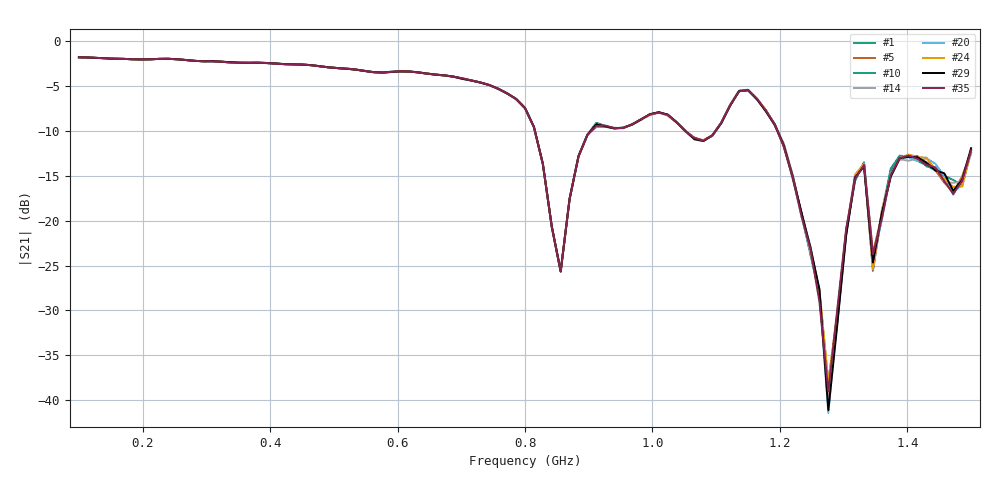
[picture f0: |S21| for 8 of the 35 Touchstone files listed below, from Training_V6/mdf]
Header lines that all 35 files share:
! NanoVNA-App
! Start: 100MHz Stop: 1,5GHz Points: 101
! S-Parameter data: F S11 S21 S12 S22
# Hz S RI R 50
!  Frequency  S11_Real  S11_Imag  S21_Real  S21_Imag  S12_Real  S12_Imag  S22_Real  S22_Imag
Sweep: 100 MHz to 1.5 GHz
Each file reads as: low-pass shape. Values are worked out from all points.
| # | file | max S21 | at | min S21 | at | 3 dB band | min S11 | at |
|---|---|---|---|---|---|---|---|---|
| 1 | mdf (201).s2p | -1.80 dB | 100 MHz | -39.3 dB | 1.276 GHz | 100 MHz-730 MHz | -39.0 dB | 128 MHz |
| 2 | mdf (202).s2p | -1.80 dB | 100 MHz | -39.0 dB | 1.276 GHz | 100 MHz-730 MHz | -39.0 dB | 128 MHz |
| 3 | mdf (203).s2p | -1.80 dB | 100 MHz | -41.1 dB | 1.276 GHz | 100 MHz-730 MHz | -38.9 dB | 128 MHz |
| 4 | mdf (204).s2p | -1.80 dB | 100 MHz | -37.8 dB | 1.276 GHz | 100 MHz-730 MHz | -39.0 dB | 128 MHz |
| 5 | mdf (205).s2p | -1.80 dB | 100 MHz | -39.5 dB | 1.276 GHz | 100 MHz-730 MHz | -39.0 dB | 128 MHz |
| 6 | mdf (206).s2p | -1.80 dB | 100 MHz | -38.6 dB | 1.276 GHz | 100 MHz-730 MHz | -39.0 dB | 128 MHz |
| 7 | mdf (207).s2p | -1.80 dB | 100 MHz | -39.1 dB | 1.276 GHz | 100 MHz-730 MHz | -39.0 dB | 128 MHz |
| 8 | mdf (208).s2p | -1.80 dB | 100 MHz | -42.7 dB | 1.276 GHz | 100 MHz-730 MHz | -39.0 dB | 128 MHz |
| 9 | mdf (209).s2p | -1.80 dB | 100 MHz | -38.0 dB | 1.276 GHz | 100 MHz-730 MHz | -38.9 dB | 128 MHz |
| 10 | mdf (210).s2p | -1.80 dB | 100 MHz | -38.2 dB | 1.276 GHz | 100 MHz-730 MHz | -38.9 dB | 128 MHz |
| 11 | mdf (211).s2p | -1.80 dB | 100 MHz | -41.3 dB | 1.276 GHz | 100 MHz-730 MHz | -39.0 dB | 128 MHz |
| 12 | mdf (214).s2p | -1.80 dB | 100 MHz | -39.9 dB | 1.276 GHz | 100 MHz-730 MHz | -38.9 dB | 128 MHz |
| 13 | mdf (215).s2p | -1.80 dB | 100 MHz | -40.1 dB | 1.276 GHz | 100 MHz-730 MHz | -39.0 dB | 128 MHz |
| 14 | mdf (216).s2p | -1.80 dB | 100 MHz | -39.6 dB | 1.276 GHz | 100 MHz-730 MHz | -39.0 dB | 128 MHz |
| 15 | mdf (217).s2p | -1.80 dB | 100 MHz | -38.2 dB | 1.276 GHz | 100 MHz-730 MHz | -38.9 dB | 128 MHz |
| 16 | mdf (218).s2p | -1.80 dB | 100 MHz | -41.2 dB | 1.276 GHz | 100 MHz-730 MHz | -39.0 dB | 128 MHz |
| 17 | mdf (220).s2p | -1.80 dB | 100 MHz | -39.4 dB | 1.276 GHz | 100 MHz-730 MHz | -38.9 dB | 128 MHz |
| 18 | mdf (221).s2p | -1.80 dB | 100 MHz | -44.5 dB | 1.276 GHz | 100 MHz-730 MHz | -39.0 dB | 128 MHz |
| 19 | mdf (222).s2p | -1.80 dB | 100 MHz | -42.3 dB | 1.276 GHz | 100 MHz-730 MHz | -39.0 dB | 128 MHz |
| 20 | mdf (223).s2p | -1.80 dB | 100 MHz | -41.4 dB | 1.276 GHz | 100 MHz-730 MHz | -38.9 dB | 128 MHz |
| 21 | mdf (225).s2p | -1.80 dB | 100 MHz | -38.3 dB | 1.276 GHz | 100 MHz-730 MHz | -38.9 dB | 128 MHz |
| 22 | mdf (226).s2p | -1.80 dB | 100 MHz | -40.6 dB | 1.276 GHz | 100 MHz-730 MHz | -39.0 dB | 128 MHz |
| 23 | mdf (227).s2p | -1.80 dB | 100 MHz | -35.7 dB | 1.276 GHz | 100 MHz-730 MHz | -39.0 dB | 128 MHz |
| 24 | mdf (228).s2p | -1.80 dB | 100 MHz | -38.0 dB | 1.276 GHz | 100 MHz-730 MHz | -39.0 dB | 128 MHz |
| 25 | mdf (229).s2p | -1.80 dB | 100 MHz | -41.3 dB | 1.276 GHz | 100 MHz-730 MHz | -38.9 dB | 128 MHz |
| 26 | mdf (230).s2p | -1.80 dB | 100 MHz | -37.7 dB | 1.276 GHz | 100 MHz-730 MHz | -39.0 dB | 128 MHz |
| 27 | mdf (231).s2p | -1.80 dB | 100 MHz | -36.4 dB | 1.276 GHz | 100 MHz-730 MHz | -39.0 dB | 128 MHz |
| 28 | mdf (233).s2p | -1.80 dB | 100 MHz | -36.8 dB | 1.276 GHz | 100 MHz-730 MHz | -39.0 dB | 128 MHz |
| 29 | mdf (234).s2p | -1.80 dB | 100 MHz | -41.1 dB | 1.276 GHz | 100 MHz-730 MHz | -39.0 dB | 128 MHz |
| 30 | mdf (235).s2p | -1.80 dB | 100 MHz | -37.6 dB | 1.276 GHz | 100 MHz-730 MHz | -39.0 dB | 128 MHz |
| 31 | mdf (236).s2p | -1.80 dB | 100 MHz | -40.9 dB | 1.276 GHz | 100 MHz-730 MHz | -39.0 dB | 128 MHz |
| 32 | mdf (237).s2p | -1.80 dB | 100 MHz | -37.5 dB | 1.276 GHz | 100 MHz-730 MHz | -39.0 dB | 128 MHz |
| 33 | mdf (238).s2p | -1.80 dB | 100 MHz | -42.0 dB | 1.276 GHz | 100 MHz-730 MHz | -39.0 dB | 128 MHz |
| 34 | mdf (239).s2p | -1.80 dB | 100 MHz | -38.3 dB | 1.276 GHz | 100 MHz-730 MHz | -38.9 dB | 128 MHz |
| 35 | mdf (240).s2p | -1.80 dB | 100 MHz | -39.0 dB | 1.276 GHz | 100 MHz-730 MHz | -38.9 dB | 128 MHz |
